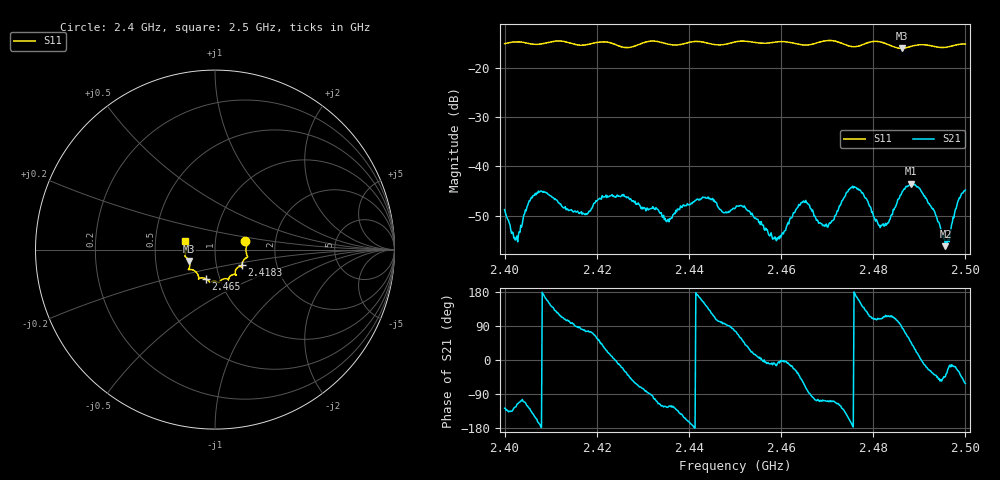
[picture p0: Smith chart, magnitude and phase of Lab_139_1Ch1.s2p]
# Hz S RI R 50
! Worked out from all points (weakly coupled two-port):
!   601 points, 2.4 GHz to 2.5 GHz, reference 50 ohm
!   highest |S21| = -43.51 dB at 2.4882 GHz (marker M1); lowest = -56.2 dB at 2.4957 GHz (marker M2)
!   lowest |S11| = -16.1 dB at 2.4862 GHz (marker M3), VSWR 1.37, Z = 37.2 - j4.8 ohm
!   |S11| at or under -10 dB: start of sweep to end of sweep
!   S12 and S22 are empty: the file has one direction only
!   S11 on the Smith chart (normalised r, x): 2.4 GHz: 1.40, +0.13; 2.4183 GHz: 1.33, -0.24; 2.465 GHz: 0.86, -0.29; 2.5 GHz: 0.71, +0.07
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2.4e9  0.1693 0.0459  -0.0022 -0.0029  0 0  0 0
2.4025e9  0.1798 0.0351  -0.00102 -0.00156  0 0  0 0
2.4075e9  0.1727 -0.00961  -0.00538 -0.00112  0 0  0 0
2.416667e9  0.1547 -0.068  0.000514 0.00344  0 0  0 0
2.418333e9  0.1499 -0.087  0.000971 0.00339  0 0  0 0
2.423167e9  0.1488 -0.0972  0.00499 0.00092  0 0  0 0
2.433333e9  0.1176 -0.1412  -0.00155 -0.00328  0 0  0 0
2.4355e9  0.1042 -0.1385  -0.00162 -0.00241  0 0  0 0
2.443333e9  0.0714 -0.1659  -0.00414 0.00248  0 0  0 0
2.45e9  0.0253 -0.1808  0.000897 0.00363  0 0  0 0
2.458833e9  -0.0229 -0.1806  0.00178 -0.000425  0 0  0 0
2.465e9  -0.0525 -0.1616  0.00189 -0.00398  0 0  0 0
2.466667e9  -0.0714 -0.1571  -0.000372 -0.00351  0 0  0 0
2.470333e9  -0.0917 -0.1651  -0.000875 -0.00241  0 0  0 0
2.475833e9  -0.1086 -0.1219  -0.00625 5.71e-05  0 0  0 0
2.481e9  -0.148 -0.11  -0.000906 0.00248  0 0  0 0
2.483333e9  -0.1414 -0.0963  -0.0012 0.0024  0 0  0 0
2.486167e9  -0.1439 -0.063  0.0002 0.00534  0 0  0 0
2.488167e9  -0.158 -0.0454  0.00449 0.00494  0 0  0 0
2.492833e9  -0.1644 -0.0215  0.00308 -0.00207  0 0  0 0
2.495667e9  -0.1605 0.0127  0.00113 -0.00107  0 0  0 0
2.5e9  -0.1673 0.047  0.00268 -0.0051  0 0  0 0
